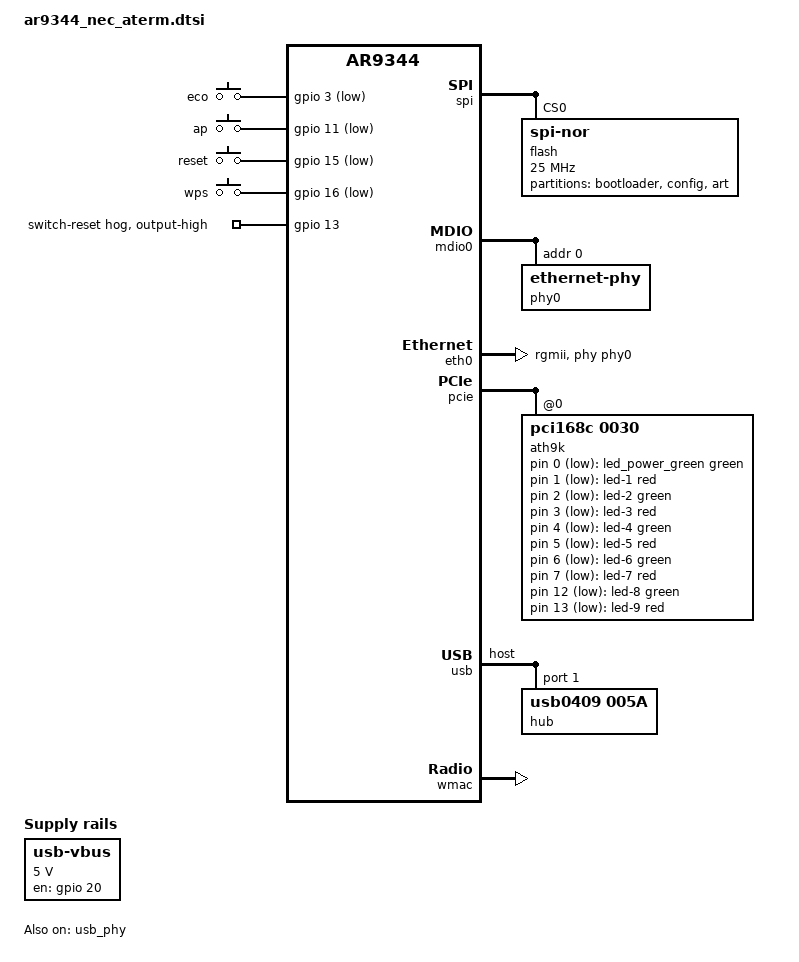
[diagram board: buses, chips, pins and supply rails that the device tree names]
// SPDX-License-Identifier: GPL-2.0-or-later OR MIT

#include <dt-bindings/gpio/gpio.h>
#include <dt-bindings/input/input.h>
#include <dt-bindings/leds/common.h>

#include "ar9344.dtsi"

/ {
	aliases {
		led-running = &led_power_green;
		led-upgrade = &led_power_green;
	};

	chosen {
		/*
		 * don't specify bootargs property in DeviceTree to
		 * enable a console with a default baudrate (9600)
		 * or passed console= parameter from the bootloader
		 */
		/delete-property/ bootargs;
		stdout-path = &uart;
	};

	keys: keys {
		compatible = "gpio-keys";
		pinctrl-names = "default";
		pinctrl-0 = <&jtag_disable_pins>;

		button-eco {
			label = "eco";
			gpios = <&gpio 3 GPIO_ACTIVE_LOW>;
			linux,code = <BTN_0>;
			debounce-interval = <60>;
		};

		switch-ap {
			label = "ap";
			gpios = <&gpio 11 GPIO_ACTIVE_LOW>;
			linux,code = <BTN_1>;
			debounce-interval = <60>;
		};

		button-reset {
			label = "reset";
			gpios = <&gpio 15 GPIO_ACTIVE_LOW>;
			linux,code = <KEY_RESTART>;
			debounce-interval = <60>;
		};

		button-wps {
			label = "wps";
			gpios = <&gpio 16 GPIO_ACTIVE_LOW>;
			linux,code = <KEY_WPS_BUTTON>;
			debounce-interval = <60>;
		};
	};

	ath9k_leds: ath9k-leds {
		/* all LEDs are connected to ath9k chip (AR938x) */
		compatible = "gpio-leds";

		led_power_green: led-0 {
			gpios = <&ath9k 0 GPIO_ACTIVE_LOW>;
			color = <LED_COLOR_ID_GREEN>;
			function = LED_FUNCTION_POWER;
			default-state = "on";
		};

		led-1 {
			gpios = <&ath9k 1 GPIO_ACTIVE_LOW>;
			color = <LED_COLOR_ID_RED>;
			function = LED_FUNCTION_POWER;
		};

		led-2 {
			gpios = <&ath9k 2 GPIO_ACTIVE_LOW>;
			color = <LED_COLOR_ID_GREEN>;
			function = LED_FUNCTION_WAN_ONLINE;
		};

		led-3 {
			gpios = <&ath9k 3 GPIO_ACTIVE_LOW>;
			color = <LED_COLOR_ID_RED>;
			function = LED_FUNCTION_WAN_ONLINE;
		};

		led-4 {
			gpios = <&ath9k 4 GPIO_ACTIVE_LOW>;
			color = <LED_COLOR_ID_GREEN>;
			function = LED_FUNCTION_WLAN_2GHZ;
			linux,default-trigger = "phy0tpt";
		};

		led-5 {
			gpios = <&ath9k 5 GPIO_ACTIVE_LOW>;
			color = <LED_COLOR_ID_RED>;
			function = LED_FUNCTION_WLAN_2GHZ;
		};

		led-6 {
			gpios = <&ath9k 6 GPIO_ACTIVE_LOW>;
			color = <LED_COLOR_ID_GREEN>;
			function = LED_FUNCTION_WLAN_5GHZ;
			linux,default-trigger = "phy1tpt";
		};

		led-7 {
			gpios = <&ath9k 7 GPIO_ACTIVE_LOW>;
			color = <LED_COLOR_ID_RED>;
			function = LED_FUNCTION_WLAN_5GHZ;
		};

		led-8 {
			gpios = <&ath9k 12 GPIO_ACTIVE_LOW>;
			color = <LED_COLOR_ID_GREEN>;
			function = "tv";
		};

		led-9 {
			gpios = <&ath9k 13 GPIO_ACTIVE_LOW>;
			color = <LED_COLOR_ID_RED>;
			function = "tv";
		};
	};

	regulator {
		compatible = "regulator-fixed";
		regulator-name = "usb-vbus";
		regulator-min-microvolt = <5000000>;
		regulator-max-microvolt = <5000000>;
		gpio = <&gpio 20 GPIO_ACTIVE_HIGH>;
		enable-active-high;
		regulator-always-on;
	};
};

&ref {
	clock-frequency = <40000000>;
};

&spi {
	status = "okay";

	flash@0 {
		compatible = "jedec,spi-nor";
		reg = <0>;
		spi-max-frequency = <25000000>;

		partitions: partitions {
			compatible = "fixed-partitions";
			#address-cells = <1>;
			#size-cells = <1>;

			/*
			 * since the OEM bootloader requires unknown
			 * filesystem on firmware area, needs to be
			 * replaced to u-boot before OpenWrt installation
			 */
			partition@0 {
				label = "bootloader";
				reg = <0x000000 0x020000>;
			};

			/* not compatible with u-boot */
			partition@20000 {
				label = "config";
				reg = <0x020000 0x010000>;
				read-only;

				nvmem-layout {
					compatible = "fixed-layout";
					#address-cells = <1>;
					#size-cells = <1>;

					macaddr_config_6: macaddr@6 {
						reg = <0x6 0x6>;
					};
				};
			};

			partition@30000 {
				label = "art";
				reg = <0x030000 0x010000>;
				read-only;

				nvmem-layout {
					compatible = "fixed-layout";
					#address-cells = <1>;
					#size-cells = <1>;

					cal_art_1000: calibration@1000 {
						reg = <0x1000 0x440>;
					};

					cal_art_5000: calibration@5000 {
						reg = <0x5000 0x440>;
					};
				};
			};
		};
	};
};

&mdio0 {
	status = "okay";

	phy0: ethernet-phy@0 {
		reg = <0>;

		qca,ar8327-initvals = <
			0x04 0x07a00000 /* PORT0_PAD_MODE_CTRL */
			0x08 0x00000000 /* PORT5_PAD_MODE_CTRL */
			0x0c 0x00000000 /* PORT6_PAD_MODE_CTRL */
			0x10 0x81000080 /* POWER_ON_STRAP */
			0x50 0xcf37cf37 /* LED_CTRL0 */
			0x54 0x00000000 /* LED_CTRL1 */
			0x58 0x00000000 /* LED_CTRL2 */
			0x5c 0x03ffff00 /* LED_CTRL3 */
			0x7c 0x0000007e /* PORT0_STATUS */
		>;
	};
};

&eth0 {
	status = "okay";

	pll-data = <0x06000000 0x00000101 0x00001616>;

	phy-mode = "rgmii";
	phy-handle = <&phy0>;

	nvmem-cells = <&macaddr_config_6>;
	nvmem-cell-names = "mac-address";

	gmac-config {
		device = <&gmac>;

		rgmii-gmac0 = <1>;
		rxdv-delay = <0>;
		rxd-delay = <0>;
		txd-delay = <0>;
		txen-delay = <0>;
	};
};

&gpio {
	switch-reset {
		gpio-hog;
		gpios = <13 GPIO_ACTIVE_HIGH>;
		output-high;
	};
};

&pcie {
	status = "okay";

	ath9k: wifi@0,0 {
		compatible = "pci168c,0030";
		reg = <0x0000 0 0 0 0>;
		#gpio-cells = <2>;
		gpio-controller;

		nvmem-cells = <&cal_art_5000>;
		nvmem-cell-names = "calibration";

		usb-hub-reset {
			gpio-hog;
			gpios = <10 GPIO_ACTIVE_HIGH>;
			output-high;
		};
	};
};

&usb_phy {
	status = "okay";
};

&usb {
	status = "okay";
	#address-cells = <1>;
	#size-cells = <0>;

	dr_mode = "host";

	/delete-node/ port@1;

	/* NEC uPD720114 */
	hub@1 {
		compatible = "usb0409,005a";
		reg = <1>;
	};
};

&wmac {
	status = "okay";

	nvmem-cells = <&cal_art_1000>;
	nvmem-cell-names = "calibration";
};
